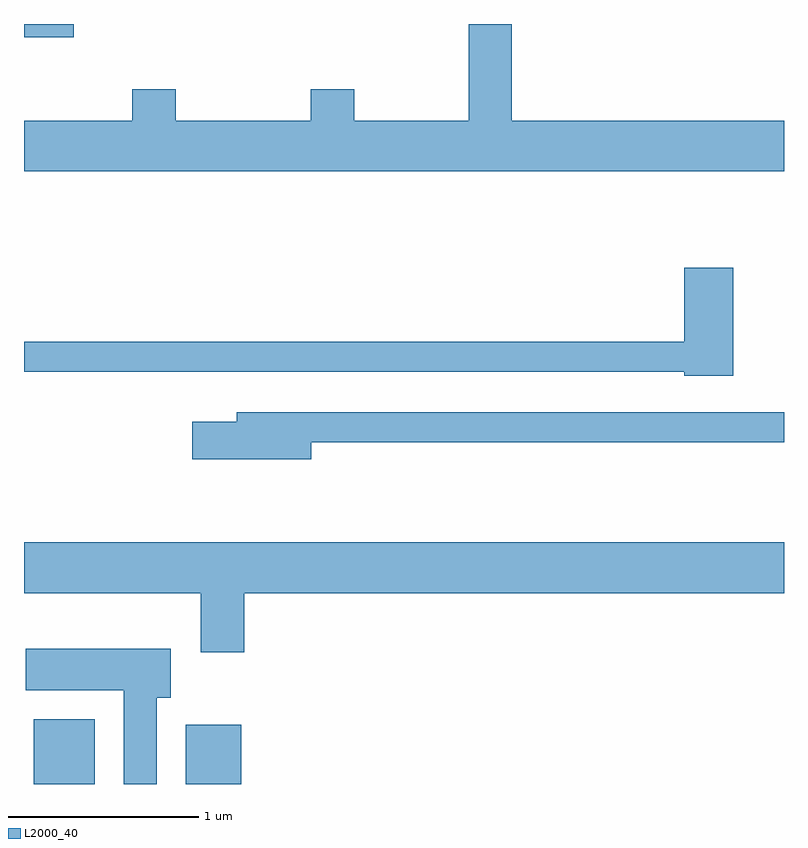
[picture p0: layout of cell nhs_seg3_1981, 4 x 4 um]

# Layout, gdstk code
import gdstk
lib = gdstk.Library(unit=1e-6, precision=1e-09)
def R(c, l, rs):  # rectangles x0, y0, x1, y1
    for r in rs: c.add(gdstk.rectangle(r[:2], r[2:], *l))
def P(c, l, *ps):  # polygons
    for p in ps: c.add(gdstk.Polygon(p, *l))
L2000_40 = (2000, 40)

nhs_seg3_1981 = lib.new_cell('nhs_seg3_1981')
R(nhs_seg3_1981, L2000_40, [(243.661,1133.892,243.984,1134.234), (244.461,1133.892,244.754,1134.204), (243.611,1137.821,243.874,1137.892)])
P(nhs_seg3_1981, L2000_40, [(244.181,1137.549),(244.181,1137.384),(243.611,1137.384),(243.611,1137.116),(247.611,1137.116),(247.611,1137.384),(246.179,1137.384),(246.179,1137.892),(245.951,1137.892),(245.951,1137.384),(245.349,1137.384),(245.349,1137.549),(245.121,1137.549),(245.121,1137.384),(244.409,1137.384),(244.409,1137.549)],
  [(247.344,1136.609),(247.086,1136.609),(247.086,1136.219),(243.611,1136.219),(243.611,1136.061),(247.086,1136.061),(247.086,1136.041),(247.344,1136.041)],
  [(245.124,1135.691),(247.611,1135.691),(247.611,1135.849),(244.731,1135.849),(244.731,1135.799),(244.496,1135.799),(244.496,1135.601),(245.124,1135.601)],
  [(244.769,1134.896),(247.611,1134.896),(247.611,1135.164),(243.611,1135.164),(243.611,1134.896),(244.541,1134.896),(244.541,1134.586),(244.769,1134.586)],
  [(244.309,1134.346),(244.384,1134.346),(244.384,1134.604),(243.621,1134.604),(243.621,1134.386),(244.136,1134.386),(244.136,1133.892),(244.309,1133.892)])

lib.write_gds('nhs_seg3_1981.gds')
